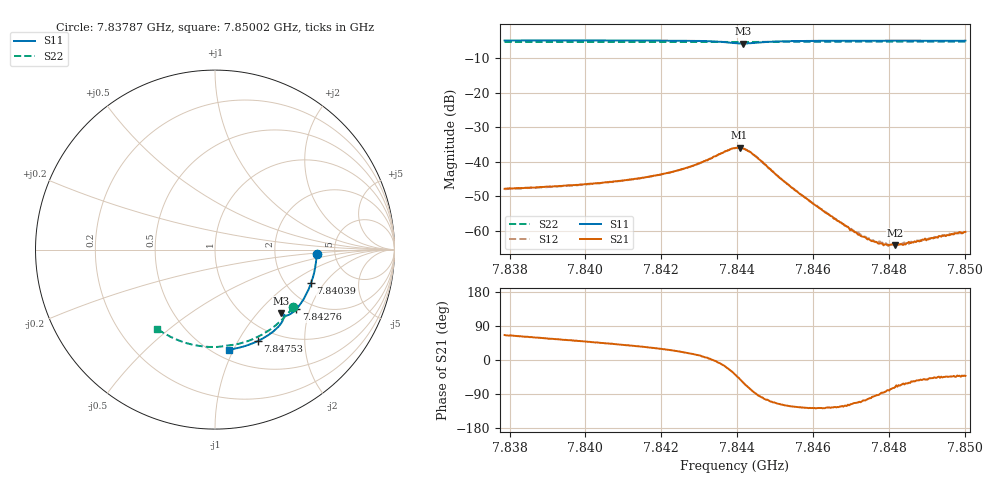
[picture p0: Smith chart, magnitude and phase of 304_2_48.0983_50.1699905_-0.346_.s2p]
#  HZ  S  RI  R  50.00
! Rohde & Schwarz Vector Network Analyzer
! Rohde-Schwarz,ZNB20-2Port,1311601062101988,3.16
! Created: UTC 12/23/2023, 4:05:05 AM
! freq[Hz]  re:S11  im:S11  re:S21  im:S21  re:S12  im:S12  re:S22  im:S22
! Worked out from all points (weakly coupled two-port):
!   401 points, 7.83787 GHz to 7.85002 GHz, reference 50 ohm
!   highest |S21| = -35.94 dB at 7.84407 GHz (marker M1); lowest = -64.3 dB at 7.84817 GHz (marker M2)
!   lowest |S11| = -5.8 dB at 7.84416 GHz (marker M3), VSWR 3.10, Z = 70.8 - j67.8 ohm
!   |S11| at or under -10 dB: nowhere
!   |S22| runs from -5.4 to -5.3 dB; largest |S21 - S12| = 0.00034
!   S11 on the Smith chart (normalised r, x): 7.83787 GHz: 3.60, -0.24; 7.84039 GHz: 2.70, -1.49; 7.84276 GHz: 1.67, -1.62; 7.84753 GHz: 0.82, -1.22; 7.85002 GHz: 0.59, -0.96
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7.83787e9  0.5661 -0.0222  0.00166 0.00369  0.00168 0.00363  0.4342 -0.321
7.839905e9  0.545 -0.1561  0.00304 0.00358  0.00298 0.00352  0.3358 -0.4237
7.840391e9  0.5351 -0.1872  0.00345 0.00349  0.00339 0.00347  0.3085 -0.4441
7.84194e9  0.489 -0.2836  0.00556 0.00319  0.00552 0.00323  0.2138 -0.4973
7.842761e9  0.4526 -0.3318  0.00805 0.00251  0.00803 0.00255  0.1596 -0.5173
7.84349e9  0.4048 -0.3658  0.0124 -0.00133  0.0124 -0.00113  0.1098 -0.5292
7.843945e9  0.3716 -0.3618  0.0124 -0.00966  0.0123 -0.00951  0.0792 -0.5331
7.844067e9  0.3693 -0.3565  0.0103 -0.0122  0.0103 -0.012  0.0717 -0.534
7.844158e9  0.3704 -0.3535  0.0078 -0.0133  0.00806 -0.0132  0.0661 -0.5348
7.844462e9  0.3812 -0.3593  0.000777 -0.0122  0.000889 -0.0122  0.0466 -0.5382
7.845251e9  0.3665 -0.4134  -0.00251 -0.00445  -0.00248 -0.0045  -0.00879 -0.5427
7.84598e9  0.3295 -0.4519  -0.0015 -0.00202  -0.00151 -0.00204  -0.0601 -0.5402
7.846922e9  0.2759 -0.4898  -0.000533 -0.00101  -0.000529 -0.00095  -0.1256 -0.5295
7.847256e9  0.2559 -0.5008  -0.000309 -0.000786  -0.000294 -0.000833  -0.1483 -0.524
7.847529e9  0.2394 -0.5092  -0.000134 -0.000702  -0.000123 -0.000691  -0.1668 -0.5183
7.847803e9  0.2226 -0.5169  4.03e-05 -0.000649  2.77e-05 -0.000657  -0.185 -0.5125
7.848015e9  0.2093 -0.5225  0.000101 -0.000608  0.000129 -0.00064  -0.1991 -0.5074
7.848167e9  0.1998 -0.5262  0.00019 -0.000583  0.000188 -0.000623  -0.2089 -0.5034
7.848501e9  0.1787 -0.5338  0.000316 -0.000588  0.000298 -0.000558  -0.2306 -0.4942
7.848775e9  0.1611 -0.5393  0.000421 -0.000573  0.000414 -0.000593  -0.2478 -0.4858
7.849747e9  0.0982 -0.554  0.000658 -0.000647  0.00071 -0.000619  -0.3065 -0.4516
7.85002e9  0.0802 -0.5567  0.000716 -0.000643  0.000713 -0.000618  -0.3224 -0.4406
